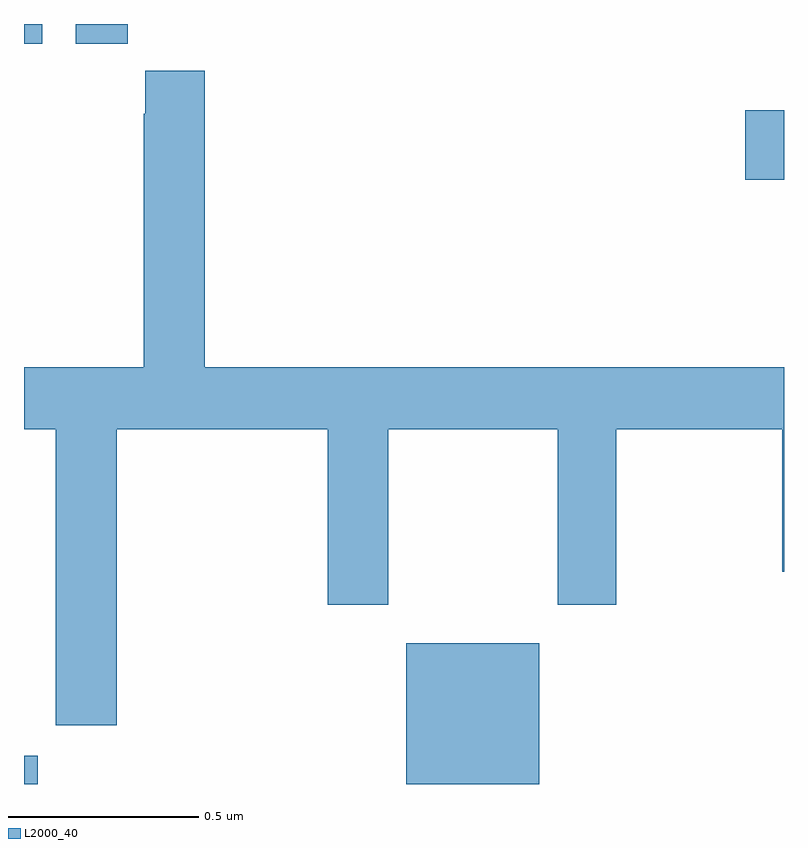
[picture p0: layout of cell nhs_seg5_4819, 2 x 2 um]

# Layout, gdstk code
import gdstk
lib = gdstk.Library(unit=1e-6, precision=1e-09)
def R(c, l, rs):  # rectangles x0, y0, x1, y1
    for r in rs: c.add(gdstk.rectangle(r[:2], r[2:], *l))
def P(c, l, *ps):  # polygons
    for p in ps: c.add(gdstk.Polygon(p, *l))
L2000_40 = (2000, 40)

nhs_seg5_4819 = lib.new_cell('nhs_seg5_4819')
R(nhs_seg5_4819, L2000_40, [(175,883.799,175.036,883.873), (176.006,883.799,176.356,884.17), (176.898,885.389,177,885.572), (175,885.747,175.048,885.799), (175.136,885.747,175.273,885.799)])
P(nhs_seg5_4819, L2000_40, [(175.244,884.732),(175.799,884.732),(175.799,884.271),(175.959,884.271),(175.959,884.732),(176.404,884.732),(176.404,884.271),(176.559,884.271),(176.559,884.732),(176.996,884.732),(176.996,884.358),(177,884.358),(177,884.896),(175.475,884.896),(175.475,885.676),(175.319,885.676),(175.319,885.563),(175.315,885.563),(175.315,884.896),(175,884.896),(175,884.732),(175.084,884.732),(175.084,883.953),(175.244,883.953)])

lib.write_gds('nhs_seg5_4819.gds')
